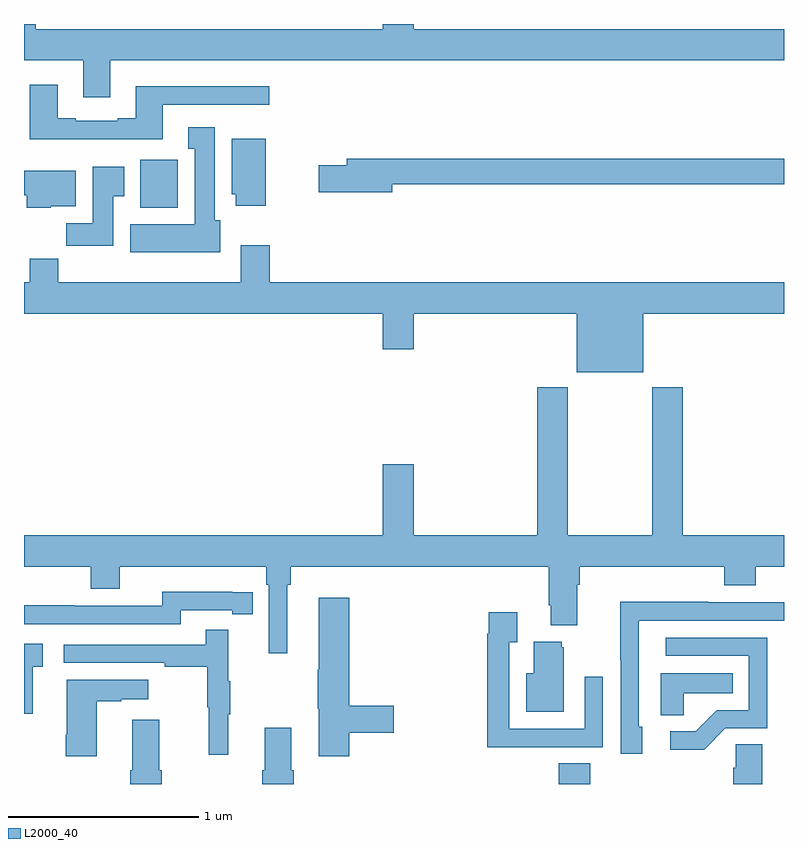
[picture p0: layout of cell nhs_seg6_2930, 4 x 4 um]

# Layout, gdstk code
import gdstk
lib = gdstk.Library(unit=1e-6, precision=1e-09)
def R(c, l, rs):  # rectangles x0, y0, x1, y1
    for r in rs: c.add(gdstk.rectangle(r[:2], r[2:], *l))
def P(c, l, *ps):  # polygons
    for p in ps: c.add(gdstk.Polygon(p, *l))
L2000_40 = (2000, 40)

nhs_seg6_2930 = lib.new_cell('nhs_seg6_2930')
R(nhs_seg6_2930, L2000_40, [(285.815,971.5,285.98,971.609), (283.613,974.534,283.809,974.785)])
P(nhs_seg6_2930, L2000_40, [(283.453,975.308),(287,975.308),(287,975.472),(285.052,975.472),(285.052,975.5),(284.888,975.5),(284.888,975.472),(283.063,975.472),(283.063,975.5),(283,975.5),(283,975.308),(283.313,975.308),(283.313,975.114),(283.453,975.114)],
  [(283.729,975.075),(284.29,975.075),(284.29,975.172),(283.589,975.172),(283.589,975.004),(283.493,975.004),(283.493,974.991),(283.273,974.991),(283.273,975.004),(283.177,975.004),(283.177,975.181),(283.03,975.181),(283.03,974.894),(283.729,974.894)],
  [(284.032,974.466),(284.005,974.466),(284.005,974.956),(283.865,974.956),(283.865,974.843),(283.898,974.843),(283.898,974.446),(283.559,974.446),(283.559,974.3),(284.032,974.3)],
  [(284.272,974.896),(284.093,974.896),(284.093,974.604),(284.114,974.604),(284.114,974.544),(284.272,974.544)],
  [(284.938,974.656),(287,974.656),(287,974.792),(284.699,974.792),(284.699,974.756),(284.55,974.756),(284.55,974.614),(284.938,974.614)],
  [(283.471,974.593),(283.528,974.593),(283.528,974.749),(283.361,974.749),(283.361,974.452),(283.222,974.452),(283.222,974.334),(283.471,974.334)],
  [(283.14,974.54),(283.273,974.54),(283.273,974.728),(283,974.728),(283,974.599),(283.015,974.599),(283.015,974.534),(283.14,974.534)],
  [(286.258,973.976),(287,973.976),(287,974.14),(284.294,974.14),(284.294,974.335),(284.141,974.335),(284.141,974.14),(283.181,974.14),(283.181,974.264),(283.03,974.264),(283.03,974.14),(283,974.14),(283,973.976),(284.888,973.976),(284.888,973.788),(285.052,973.788),(285.052,973.976),(285.908,973.976),(285.908,973.667),(286.258,973.667)],
  [(283,972.644),(283.352,972.644),(283.352,972.527),(283.504,972.527),(283.504,972.644),(284.276,972.644),(284.276,972.548),(284.289,972.548),(284.289,972.189),(284.386,972.189),(284.386,972.548),(284.405,972.548),(284.405,972.644),(285.761,972.644),(285.761,972.442),(285.773,972.442),(285.773,972.335),(285.913,972.335),(285.913,972.548),(285.926,972.548),(285.926,972.644),(286.685,972.644),(286.685,972.545),(286.85,972.545),(286.85,972.644),(287,972.644),(287,972.808),(286.466,972.808),(286.466,973.588),(286.306,973.588),(286.306,972.808),(285.861,972.808),(285.861,973.588),(285.701,973.588),(285.701,972.808),(285.052,972.808),(285.052,973.183),(284.888,973.183),(284.888,972.808),(283,972.808)],
  [(283.824,972.414),(284.096,972.414),(284.096,972.394),(284.204,972.394),(284.204,972.51),(284.096,972.51),(284.096,972.511),(283.728,972.511),(283.728,972.438),(283.268,972.438),(283.268,972.44),(283,972.44),(283,972.342),(283.824,972.342)],
  [(284.711,971.77),(284.947,971.77),(284.947,971.912),(284.711,971.912),(284.711,972.481),(284.552,972.481),(284.552,972.101),(284.545,972.101),(284.545,971.895),(284.552,971.895),(284.552,971.646),(284.711,971.646)],
  [(286.255,971.802),(286.236,971.802),(286.236,972.36),(287,972.36),(287,972.456),(286.601,972.456),(286.601,972.458),(286.138,972.458),(286.138,972.151),(286.14,972.151),(286.14,971.658),(286.255,971.658)],
  [(285.731,971.694),(286.047,971.694),(286.047,972.064),(285.951,972.064),(285.951,971.79),(285.555,971.79),(285.555,972.247),(285.595,972.247),(285.595,972.403),(285.447,972.403),(285.447,972.29),(285.439,972.29),(285.439,971.693),(285.731,971.693)],
  [(284.075,971.867),(284.086,971.867),(284.086,972.041),(284.075,972.041),(284.075,972.313),(283.957,972.313),(283.957,972.234),(283.209,972.234),(283.209,972.138),(283.741,972.138),(283.741,972.118),(283.965,972.118),(283.965,971.904),(283.972,971.904),(283.972,971.655),(284.075,971.655)],
  [(286.692,971.793),(286.911,971.793),(286.911,972.27),(286.377,972.27),(286.377,972.174),(286.815,972.174),(286.815,971.889),(286.646,971.889),(286.535,971.778),(286.401,971.778),(286.401,971.681),(286.579,971.681)],
  [(285.841,972.219),(285.83,972.219),(285.83,972.25),(285.683,972.25),(285.683,972.082),(285.644,972.082),(285.644,971.879),(285.841,971.879)],
  [(283.046,972.117),(283.099,972.117),(283.099,972.238),(283,972.238),(283,971.871),(283.046,971.871)],
  [(286.473,971.978),(286.73,971.978),(286.73,972.082),(286.352,972.082),(286.352,971.863),(286.473,971.863)],
  [(283.384,971.935),(283.511,971.935),(283.511,971.945),(283.654,971.945),(283.654,972.049),(283.226,972.049),(283.226,971.758),(283.219,971.758),(283.219,971.646),(283.384,971.646)],
  [(283.724,971.572),(283.711,971.572),(283.711,971.839),(283.571,971.839),(283.571,971.572),(283.559,971.572),(283.559,971.5),(283.724,971.5)],
  [(284.42,971.572),(284.407,971.572),(284.407,971.797),(284.267,971.797),(284.267,971.572),(284.255,971.572),(284.255,971.5),(284.42,971.5)],
  [(286.885,971.708),(286.746,971.708),(286.746,971.585),(286.733,971.585),(286.733,971.5),(286.885,971.5)])

lib.write_gds('nhs_seg6_2930.gds')
